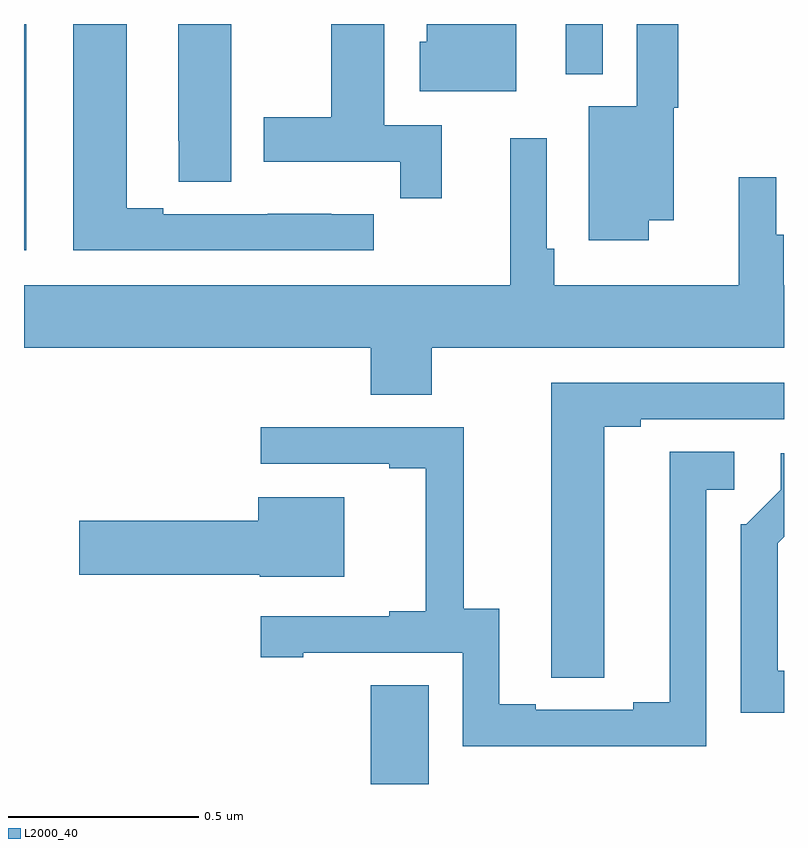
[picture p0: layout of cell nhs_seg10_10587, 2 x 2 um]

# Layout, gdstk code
import gdstk
lib = gdstk.Library(unit=1e-6, precision=1e-09)
def R(c, l, rs):  # rectangles x0, y0, x1, y1
    for r in rs: c.add(gdstk.rectangle(r[:2], r[2:], *l))
def P(c, l, *ps):  # polygons
    for p in ps: c.add(gdstk.Polygon(p, *l))
L2000_40 = (2000, 40)

nhs_seg10_10587 = lib.new_cell('nhs_seg10_10587')
R(nhs_seg10_10587, L2000_40, [(244.913,1300.5,245.065,1300.76), (244,1301.904,244.006,1302.5), (245.426,1302.368,245.523,1302.5)])
P(nhs_seg10_10587, L2000_40, [(245.644,1301.984),(245.71,1301.984),(245.71,1302.279),(245.722,1302.279),(245.722,1302.5),(245.613,1302.5),(245.613,1302.283),(245.486,1302.283),(245.486,1301.931),(245.644,1301.931)],
  [(245.099,1302.234),(244.948,1302.234),(244.948,1302.5),(244.808,1302.5),(244.808,1302.255),(244.631,1302.255),(244.631,1302.138),(244.99,1302.138),(244.99,1302.042),(245.099,1302.042)],
  [(244.546,1302.5),(244.406,1302.5),(244.406,1302.193),(244.407,1302.193),(244.407,1302.085),(244.546,1302.085)],
  [(244.921,1302),(244.808,1302),(244.808,1302.001),(244.642,1302.001),(244.642,1302),(244.366,1302),(244.366,1302.015),(244.27,1302.015),(244.27,1302.5),(244.13,1302.5),(244.13,1301.904),(244.921,1301.904)],
  [(245.296,1302.5),(245.06,1302.5),(245.06,1302.453),(245.042,1302.453),(245.042,1302.323),(245.296,1302.323)],
  [(245.073,1301.648),(246,1301.648),(246,1301.812),(245.999,1301.812),(245.999,1301.946),(245.98,1301.946),(245.98,1302.097),(245.881,1302.097),(245.881,1301.812),(245.396,1301.812),(245.396,1301.908),(245.376,1301.908),(245.376,1302.199),(245.279,1302.199),(245.279,1301.812),(244,1301.812),(244,1301.648),(244.913,1301.648),(244.913,1301.524),(245.073,1301.524)],
  [(245.527,1301.44),(245.623,1301.44),(245.623,1301.46),(246,1301.46),(246,1301.556),(245.387,1301.556),(245.387,1300.888),(245.388,1300.888),(245.388,1300.78),(245.527,1300.78)],
  [(245.796,1301.274),(245.869,1301.274),(245.869,1301.375),(245.699,1301.375),(245.699,1300.715),(245.603,1300.715),(245.603,1300.695),(245.347,1300.695),(245.347,1300.71),(245.251,1300.71),(245.251,1300.961),(245.157,1300.961),(245.157,1301.439),(244.623,1301.439),(244.623,1301.343),(244.961,1301.343),(244.961,1301.331),(245.057,1301.331),(245.057,1300.954),(244.961,1300.954),(244.961,1300.941),(244.623,1300.941),(244.623,1300.833),(244.735,1300.833),(244.735,1300.845),(245.154,1300.845),(245.154,1300.599),(245.796,1300.599)],
  [(246,1300.798),(245.983,1300.798),(245.983,1301.134),(246,1301.151),(246,1301.37),(245.991,1301.37),(245.991,1301.274),(245.901,1301.184),(245.886,1301.184),(245.886,1300.688),(246,1300.688)],
  [(244.843,1301.254),(244.616,1301.254),(244.616,1301.193),(244.146,1301.193),(244.146,1301.051),(244.62,1301.051),(244.62,1301.045),(244.843,1301.045)])

lib.write_gds('nhs_seg10_10587.gds')
